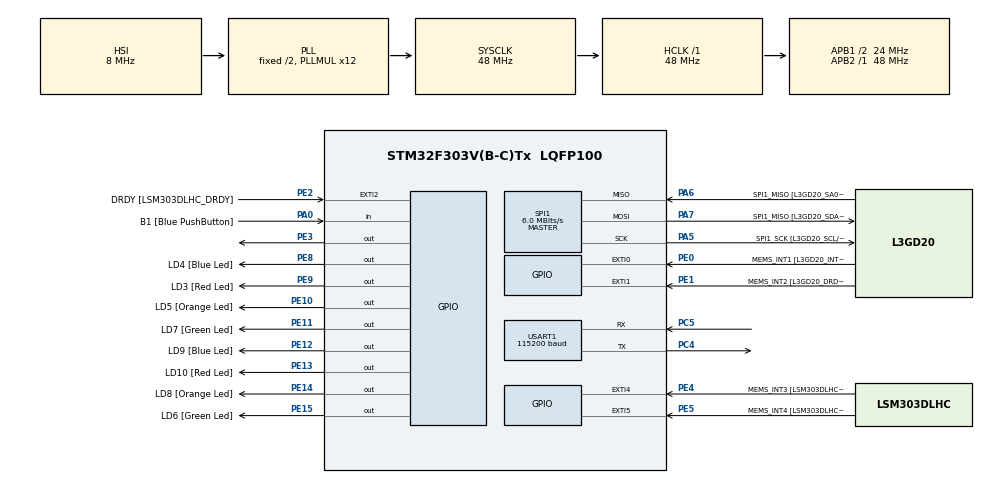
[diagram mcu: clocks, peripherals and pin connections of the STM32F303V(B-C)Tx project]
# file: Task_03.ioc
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Mcu.Family=STM32F3
Mcu.Name=STM32F303V(B-C)Tx
Mcu.Package=LQFP100
NVIC.PriorityGroup=NVIC_PRIORITYGROUP_0
PA0.GPIO_Label=B1 [Blue PushButton]
PA0.GPIO_Mode=GPIO_MODE_INPUT
PA0.GPIO_PuPd=GPIO_NOPULL
PA0.Signal=GPIO_Input
PA11.GPIO_Label=DM
PA11.Signal=USB_DM
PA12.GPIO_Label=DP
PA12.Signal=USB_DP
PA13.GPIO_Label=SWDIO
PA13.Mode=Serial_Wire
PA13.Signal=SYS_JTMS-SWDIO
PA14.GPIO_Label=SWCLK
PA14.Mode=Serial_Wire
PA14.Signal=SYS_JTCK-SWCLK
PA5.GPIO_Label=SPI1_SCK [L3GD20_SCL/SPC]
PA5.GPIO_Mode=GPIO_MODE_AF_PP
PA5.GPIO_PuPd=GPIO_NOPULL
PA5.GPIO_Speed=GPIO_SPEED_FREQ_LOW
PA5.Mode=Full_Duplex_Master
PA5.Signal=SPI1_SCK
PA6.GPIO_Label=SPI1_MISO [L3GD20_SA0/SDO]
PA6.GPIO_Mode=GPIO_MODE_AF_PP
PA6.GPIO_PuPd=GPIO_NOPULL
PA6.GPIO_Speed=GPIO_SPEED_FREQ_LOW
PA6.Mode=Full_Duplex_Master
PA6.Signal=SPI1_MISO
PA7.GPIO_Label=SPI1_MISO [L3GD20_SDA/SDI/SDO]
PA7.GPIO_Mode=GPIO_MODE_AF_PP
PA7.GPIO_PuPd=GPIO_NOPULL
PA7.GPIO_Speed=GPIO_SPEED_FREQ_LOW
PA7.Mode=Full_Duplex_Master
PA7.Signal=SPI1_MOSI
PB3.GPIO_Label=SWO
PB3.Signal=SYS_JTDO-TRACESWO
PB6.GPIO_FM6=__NULL
PB6.GPIO_Label=I2C1_SCL [LSM303DLHC_SCL]
PB6.GPIO_Mode=GPIO_MODE_AF_OD
PB6.GPIO_PuPd=GPIO_NOPULL
PB6.GPIO_Speed=GPIO_SPEED_FREQ_LOW
PB6.Signal=I2C1_SCL
PB7.GPIO_FM7=__NULL
PB7.GPIO_Label=I2C1_SDA [LSM303DLHC_SDA]
PB7.GPIO_Mode=GPIO_MODE_AF_OD
PB7.GPIO_PuPd=GPIO_NOPULL
PB7.GPIO_Speed=GPIO_SPEED_FREQ_LOW
PB7.Signal=I2C1_SDA
PC14-OSC32_IN.GPIO_Label=OSC32_IN
PC14-OSC32_IN.Signal=RCC_OSC32_IN
PC15-OSC32_OUT.GPIO_Label=OSC32_OUT
PC15-OSC32_OUT.Signal=RCC_OSC32_OUT
PC4.Mode=Asynchronous
PC4.Signal=USART1_TX
PC5.Mode=Asynchronous
PC5.Signal=USART1_RX
PE0.GPIO_Label=MEMS_INT1 [L3GD20_INT1]
PE0.GPIO_ModeDefaultEXTI=GPIO_MODE_EVT_RISING
PE0.GPIO_PuPd=GPIO_NOPULL
PE0.Signal=GPXTI0
PE1.GPIO_Label=MEMS_INT2 [L3GD20_DRDY/INT2]
PE1.GPIO_ModeDefaultEXTI=GPIO_MODE_EVT_RISING
PE1.GPIO_PuPd=GPIO_NOPULL
PE1.Signal=GPXTI1
PE10.GPIO_Label=LD5 [Orange Led]
PE10.GPIO_ModeDefaultOutputPP=GPIO_MODE_OUTPUT_PP
PE10.GPIO_PuPd=GPIO_NOPULL
PE10.GPIO_Speed=GPIO_SPEED_FREQ_LOW
PE10.Signal=GPIO_Output
PE11.GPIO_Label=LD7 [Green Led]
PE11.GPIO_ModeDefaultOutputPP=GPIO_MODE_OUTPUT_PP
PE11.GPIO_PuPd=GPIO_NOPULL
PE11.GPIO_Speed=GPIO_SPEED_FREQ_LOW
PE11.Signal=GPIO_Output
PE12.GPIO_Label=LD9 [Blue Led]
PE12.GPIO_ModeDefaultOutputPP=GPIO_MODE_OUTPUT_PP
PE12.GPIO_PuPd=GPIO_NOPULL
PE12.GPIO_Speed=GPIO_SPEED_FREQ_LOW
PE12.Signal=GPIO_Output
PE13.GPIO_Label=LD10 [Red Led]
PE13.GPIO_ModeDefaultOutputPP=GPIO_MODE_OUTPUT_PP
PE13.GPIO_PuPd=GPIO_NOPULL
PE13.GPIO_Speed=GPIO_SPEED_FREQ_LOW
PE13.Signal=GPIO_Output
PE14.GPIO_Label=LD8 [Orange Led]
PE14.GPIO_ModeDefaultOutputPP=GPIO_MODE_OUTPUT_PP
PE14.GPIO_PuPd=GPIO_NOPULL
PE14.GPIO_Speed=GPIO_SPEED_FREQ_LOW
PE14.Signal=GPIO_Output
PE15.GPIO_Label=LD6 [Green Led]
PE15.GPIO_ModeDefaultOutputPP=GPIO_MODE_OUTPUT_PP
PE15.GPIO_PuPd=GPIO_NOPULL
PE15.GPIO_Speed=GPIO_SPEED_FREQ_LOW
PE15.Signal=GPIO_Output
PE2.GPIO_Label=DRDY [LSM303DLHC_DRDY]
PE2.GPIO_ModeDefaultEXTI=GPIO_MODE_EVT_RISING
PE2.GPIO_PuPd=GPIO_NOPULL
PE2.Signal=GPXTI2
PE3.GPIO_Speed=GPIO_SPEED_FREQ_HIGH
PE3.PinState=GPIO_PIN_SET
PE3.Signal=GPIO_Output
PE4.GPIO_Label=MEMS_INT3 [LSM303DLHC_INT1]
PE4.GPIO_ModeDefaultEXTI=GPIO_MODE_EVT_RISING
PE4.GPIO_PuPd=GPIO_NOPULL
PE4.Signal=GPXTI4
PE5.GPIO_Label=MEMS_INT4 [LSM303DLHC_INT2]
PE5.GPIO_ModeDefaultEXTI=GPIO_MODE_EVT_RISING
PE5.GPIO_PuPd=GPIO_NOPULL
PE5.Signal=GPXTI5
PE8.GPIO_Label=LD4 [Blue Led]
PE8.GPIO_ModeDefaultOutputPP=GPIO_MODE_OUTPUT_PP
PE8.GPIO_PuPd=GPIO_NOPULL
PE8.GPIO_Speed=GPIO_SPEED_FREQ_LOW
PE8.Signal=GPIO_Output
PE9.GPIO_Label=LD3 [Red Led]
PE9.GPIO_ModeDefaultOutputPP=GPIO_MODE_OUTPUT_PP
PE9.GPIO_PuPd=GPIO_NOPULL
PE9.GPIO_Speed=GPIO_SPEED_FREQ_LOW
PE9.Signal=GPIO_Output
PF0-OSC_IN.GPIO_Label=OSC_IN
PF0-OSC_IN.Mode=HSE-External-Oscillator
PF0-OSC_IN.Signal=RCC_OSC_IN
PF1-OSC_OUT.GPIO_Label=OSC_OUT
PF1-OSC_OUT.Mode=HSE-External-Oscillator
PF1-OSC_OUT.Signal=RCC_OSC_OUT
ProjectManager.HeapSize=0x200
ProjectManager.StackSize=0x400
ProjectManager.TargetToolchain=CMake
RCC.AHBFreq_Value=48000000
RCC.APB1CLKDivider=RCC_HCLK_DIV2
RCC.APB1Freq_Value=24000000
RCC.APB1TimFreq_Value=48000000
RCC.APB2Freq_Value=48000000
RCC.APB2TimFreq_Value=48000000
RCC.CortexFreq_Value=48000000
RCC.HCLKFreq_Value=48000000
RCC.HSI_VALUE=8000000
RCC.LSE_VALUE=32768
RCC.PLLMUL=RCC_PLL_MUL12
RCC.SYSCLKFreq_VALUE=48000000
RCC.SYSCLKSourceVirtual=RCC_SYSCLKSOURCE_PLLCLK
RCC.USBFreq_Value=48000000
SPI1.BaudRatePrescaler=SPI_BAUDRATEPRESCALER_8
SPI1.CLKPhase=SPI_PHASE_2EDGE
SPI1.CLKPolarity=SPI_POLARITY_HIGH
SPI1.CalculateBaudRate=6.0 MBits/s
SPI1.DataSize=SPI_DATASIZE_8BIT
SPI1.Direction=SPI_DIRECTION_2LINES
SPI1.Mode=SPI_MODE_MASTER
SPI1.VirtualType=VM_MASTER
USART1.BaudRate=115200
USART1.VirtualMode-Asynchronous=VM_ASYNC
board=STM32F3DISCOVERY

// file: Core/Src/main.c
/* USER CODE BEGIN Header */
/**
  ******************************************************************************
  * @file           : main.c
  * @brief          : Main program body
  ******************************************************************************
  * @attention
  *
  * Copyright (c) 2026 STMicroelectronics.
  * All rights reserved.
  *
  * This software is licensed under terms that can be found in the LICENSE file
  * in the root directory of this software component.
  * If no LICENSE file comes with this software, it is provided AS-IS.
  *
  ******************************************************************************
  */
/* USER CODE END Header */
#include "main.h"

/* USER CODE BEGIN Includes */
#include <stdio.h>
#include <string.h>
#include <stdlib.h>
/* USER CODE END Includes */

SPI_HandleTypeDef hspi1;

UART_HandleTypeDef huart1;

void SystemClock_Config(void);
static void MX_GPIO_Init(void);
static void MX_SPI1_Init(void);
static void MX_USART1_UART_Init(void);

/* USER CODE BEGIN 0 */
#define CTRL_REG1     0x20
#define CTRL_REG1_VAL 0b00001111
#define SENSITIVITY   0.00875f

char uart_buf[100];

uint8_t read_register(uint8_t reg)
{
  uint8_t tx = 0x80 | reg;
  uint8_t rx = 0;

  HAL_GPIO_WritePin(GPIOE, GPIO_PIN_3, GPIO_PIN_RESET);
  HAL_SPI_Transmit(&hspi1, &tx, 1, HAL_MAX_DELAY);
  HAL_SPI_Receive(&hspi1, &rx, 1, HAL_MAX_DELAY);
  HAL_GPIO_WritePin(GPIOE, GPIO_PIN_3, GPIO_PIN_SET);

  return rx;
}

void gyro_init(void)
{
  uint8_t tx[2] = { CTRL_REG1, CTRL_REG1_VAL };
  HAL_GPIO_WritePin(GPIOE, GPIO_PIN_3, GPIO_PIN_RESET);
  HAL_SPI_Transmit(&hspi1, tx, 2, HAL_MAX_DELAY);
  HAL_GPIO_WritePin(GPIOE, GPIO_PIN_3, GPIO_PIN_SET);
}
/* USER CODE END 0 */

int main(void)
{

  /* MCU Configuration--------------------------------------------------------*/

  /* Reset of all peripherals, Initializes the Flash interface and the Systick. */
  HAL_Init();

  /* Configure the system clock */
  SystemClock_Config();

  /* Initialize all configured peripherals */
  MX_GPIO_Init();
  MX_SPI1_Init();
  MX_USART1_UART_Init();
  /* USER CODE BEGIN 2 */
  gyro_init();
  /* USER CODE END 2 */

  /* Infinite loop */
  /* USER CODE BEGIN WHILE */
  while (1)
  {
    int8_t temp = (int8_t)read_register(0x26);

    uint8_t x_l = read_register(0x28);
    uint8_t x_h = read_register(0x29);
    uint8_t y_l = read_register(0x2A);
    uint8_t y_h = read_register(0x2B);
    uint8_t z_l = read_register(0x2C);
    uint8_t z_h = read_register(0x2D);

    int16_t x_raw = (int16_t)((x_h << 8) | x_l);
    int16_t y_raw = (int16_t)((y_h << 8) | y_l);
    int16_t z_raw = (int16_t)((z_h << 8) | z_l);
    float x_dps = x_raw * SENSITIVITY;
    float y_dps = y_raw * SENSITIVITY;
    float z_dps = z_raw * SENSITIVITY;

    char x_sign = (x_dps < 0) ? '-' : ' ';
    char y_sign = (y_dps < 0) ? '-' : ' ';
    char z_sign = (z_dps < 0) ? '-' : ' ';

    int x_int = abs((int)x_dps);
    int y_int = abs((int)y_dps);
    int z_int = abs((int)z_dps);

    int x_frac = abs((int)((x_dps - (int)x_dps) * 100));
    int y_frac = abs((int)((y_dps - (int)y_dps) * 100));
    int z_frac = abs((int)((z_dps - (int)z_dps) * 100));

    sprintf(uart_buf, "%d,%c%d.%02d,%c%d.%02d,%c%d.%02d\r\n",
            temp,
            x_sign, x_int, x_frac,
            y_sign, y_int, y_frac,
            z_sign, z_int, z_frac);

    HAL_UART_Transmit(&huart1, (uint8_t*)uart_buf, strlen(uart_buf), HAL_MAX_DELAY);

    HAL_Delay(100);
    /* USER CODE END WHILE */

  }
}

void SystemClock_Config(void)
{
  RCC_OscInitTypeDef RCC_OscInitStruct = {0};
  RCC_ClkInitTypeDef RCC_ClkInitStruct = {0};
  RCC_PeriphCLKInitTypeDef PeriphClkInit = {0};

  /** Initializes the RCC Oscillators according to the specified parameters
  * in the RCC_OscInitTypeDef structure.
  */
  RCC_OscInitStruct.OscillatorType = RCC_OSCILLATORTYPE_HSI;
  RCC_OscInitStruct.HSIState = RCC_HSI_ON;
  RCC_OscInitStruct.HSICalibrationValue = RCC_HSICALIBRATION_DEFAULT;
  RCC_OscInitStruct.PLL.PLLState = RCC_PLL_ON;
  RCC_OscInitStruct.PLL.PLLSource = RCC_PLLSOURCE_HSI;
  RCC_OscInitStruct.PLL.PLLMUL = RCC_PLL_MUL12;
  if (HAL_RCC_OscConfig(&RCC_OscInitStruct) != HAL_OK)
  {
    Error_Handler();
  }

  /** Initializes the CPU, AHB and APB buses clocks
  */
  RCC_ClkInitStruct.ClockType = RCC_CLOCKTYPE_HCLK|RCC_CLOCKTYPE_SYSCLK
                              |RCC_CLOCKTYPE_PCLK1|RCC_CLOCKTYPE_PCLK2;
  RCC_ClkInitStruct.SYSCLKSource = RCC_SYSCLKSOURCE_PLLCLK;
  RCC_ClkInitStruct.AHBCLKDivider = RCC_SYSCLK_DIV1;
  RCC_ClkInitStruct.APB1CLKDivider = RCC_HCLK_DIV2;
  RCC_ClkInitStruct.APB2CLKDivider = RCC_HCLK_DIV1;

  if (HAL_RCC_ClockConfig(&RCC_ClkInitStruct, FLASH_LATENCY_1) != HAL_OK)
  {
    Error_Handler();
  }
  PeriphClkInit.PeriphClockSelection = RCC_PERIPHCLK_USART1;
  PeriphClkInit.Usart1ClockSelection = RCC_USART1CLKSOURCE_PCLK2;
  if (HAL_RCCEx_PeriphCLKConfig(&PeriphClkInit) != HAL_OK)
  {
    Error_Handler();
  }
}

static void MX_SPI1_Init(void)
{

  /* SPI1 parameter configuration*/
  hspi1.Instance = SPI1;
  hspi1.Init.Mode = SPI_MODE_MASTER;
  hspi1.Init.Direction = SPI_DIRECTION_2LINES;
  hspi1.Init.DataSize = SPI_DATASIZE_8BIT;
  hspi1.Init.CLKPolarity = SPI_POLARITY_HIGH;
  hspi1.Init.CLKPhase = SPI_PHASE_2EDGE;
  hspi1.Init.NSS = SPI_NSS_SOFT;
  hspi1.Init.BaudRatePrescaler = SPI_BAUDRATEPRESCALER_8;
  hspi1.Init.FirstBit = SPI_FIRSTBIT_MSB;
  hspi1.Init.TIMode = SPI_TIMODE_DISABLE;
  hspi1.Init.CRCCalculation = SPI_CRCCALCULATION_DISABLE;
  hspi1.Init.CRCPolynomial = 7;
  hspi1.Init.CRCLength = SPI_CRC_LENGTH_DATASIZE;
  hspi1.Init.NSSPMode = SPI_NSS_PULSE_DISABLE;
  if (HAL_SPI_Init(&hspi1) != HAL_OK)
  {
    Error_Handler();
  }

}

static void MX_USART1_UART_Init(void)
{

  huart1.Instance = USART1;
  huart1.Init.BaudRate = 115200;
  huart1.Init.WordLength = UART_WORDLENGTH_8B;
  huart1.Init.StopBits = UART_STOPBITS_1;
  huart1.Init.Parity = UART_PARITY_NONE;
  huart1.Init.Mode = UART_MODE_TX_RX;
  huart1.Init.HwFlowCtl = UART_HWCONTROL_NONE;
  huart1.Init.OverSampling = UART_OVERSAMPLING_16;
  huart1.Init.OneBitSampling = UART_ONE_BIT_SAMPLE_DISABLE;
  huart1.AdvancedInit.AdvFeatureInit = UART_ADVFEATURE_NO_INIT;
  if (HAL_UART_Init(&huart1) != HAL_OK)
  {
    Error_Handler();
  }

}

static void MX_GPIO_Init(void)
{
  GPIO_InitTypeDef GPIO_InitStruct = {0};

  /* GPIO Ports Clock Enable */
  __HAL_RCC_GPIOE_CLK_ENABLE();
  __HAL_RCC_GPIOC_CLK_ENABLE();
  __HAL_RCC_GPIOF_CLK_ENABLE();
  __HAL_RCC_GPIOA_CLK_ENABLE();
  __HAL_RCC_GPIOB_CLK_ENABLE();

  /*Configure GPIO pin Output Level */
  HAL_GPIO_WritePin(GPIOE, GPIO_PIN_3, GPIO_PIN_SET);

  /*Configure GPIO pin Output Level */
  HAL_GPIO_WritePin(GPIOE, LD4_Pin|LD3_Pin|LD5_Pin|LD7_Pin
                          |LD9_Pin|LD10_Pin|LD8_Pin|LD6_Pin, GPIO_PIN_RESET);

  /*Configure GPIO pins : DRDY_Pin MEMS_INT3_Pin MEMS_INT4_Pin MEMS_INT1_Pin
                           MEMS_INT2_Pin */
  GPIO_InitStruct.Pin = DRDY_Pin|MEMS_INT3_Pin|MEMS_INT4_Pin|MEMS_INT1_Pin
                          |MEMS_INT2_Pin;
  GPIO_InitStruct.Mode = GPIO_MODE_EVT_RISING;
  GPIO_InitStruct.Pull = GPIO_NOPULL;
  HAL_GPIO_Init(GPIOE, &GPIO_InitStruct);

  /*Configure GPIO pin : PE3 */
  GPIO_InitStruct.Pin = GPIO_PIN_3;
  GPIO_InitStruct.Mode = GPIO_MODE_OUTPUT_PP;
  GPIO_InitStruct.Pull = GPIO_NOPULL;
  GPIO_InitStruct.Speed = GPIO_SPEED_FREQ_HIGH;
  HAL_GPIO_Init(GPIOE, &GPIO_InitStruct);

  /*Configure GPIO pin : B1_Pin */
  GPIO_InitStruct.Pin = B1_Pin;
  GPIO_InitStruct.Mode = GPIO_MODE_INPUT;
  GPIO_InitStruct.Pull = GPIO_NOPULL;
  HAL_GPIO_Init(B1_GPIO_Port, &GPIO_InitStruct);

  /*Configure GPIO pins : LD4_Pin LD3_Pin LD5_Pin LD7_Pin
                           LD9_Pin LD10_Pin LD8_Pin LD6_Pin */
  GPIO_InitStruct.Pin = LD4_Pin|LD3_Pin|LD5_Pin|LD7_Pin
                          |LD9_Pin|LD10_Pin|LD8_Pin|LD6_Pin;
  GPIO_InitStruct.Mode = GPIO_MODE_OUTPUT_PP;
  GPIO_InitStruct.Pull = GPIO_NOPULL;
  GPIO_InitStruct.Speed = GPIO_SPEED_FREQ_LOW;
  HAL_GPIO_Init(GPIOE, &GPIO_InitStruct);

  /*Configure GPIO pins : DM_Pin DP_Pin */
  GPIO_InitStruct.Pin = DM_Pin|DP_Pin;
  GPIO_InitStruct.Mode = GPIO_MODE_AF_PP;
  GPIO_InitStruct.Pull = GPIO_NOPULL;
  GPIO_InitStruct.Speed = GPIO_SPEED_FREQ_HIGH;
  GPIO_InitStruct.Alternate = GPIO_AF14_USB;
  HAL_GPIO_Init(GPIOA, &GPIO_InitStruct);

  /*Configure GPIO pins : I2C1_SCL_Pin I2C1_SDA_Pin */
  GPIO_InitStruct.Pin = I2C1_SCL_Pin|I2C1_SDA_Pin;
  GPIO_InitStruct.Mode = GPIO_MODE_AF_OD;
  GPIO_InitStruct.Pull = GPIO_NOPULL;
  GPIO_InitStruct.Speed = GPIO_SPEED_FREQ_LOW;
  GPIO_InitStruct.Alternate = GPIO_AF4_I2C1;
  HAL_GPIO_Init(GPIOB, &GPIO_InitStruct);

}

void Error_Handler(void)
{
  __disable_irq();
  while (1)
  {
  }
}
